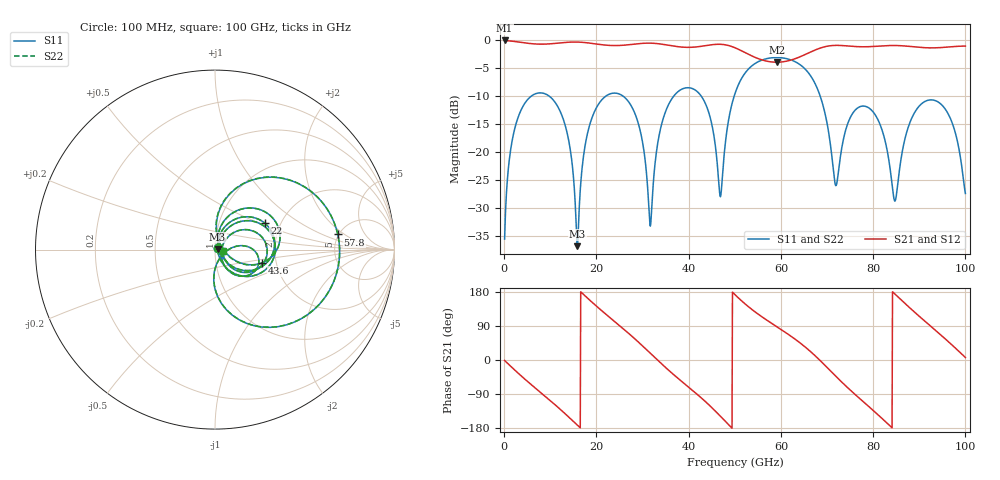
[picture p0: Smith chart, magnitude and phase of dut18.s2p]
! Touchstone file exported from HFSS 2026.1.0
!  File:  C:/ffzhzh/LocalFiles/Ansys_Project_Files/temp_train_TSV_RDL_18_1783614074_29156.aedt
!  Generated:  12:34:34 AM Jul 10, 2026
!  Design:  TSV_RDL
!  Project:  temp_train_TSV_RDL_18_1783614074_29156
! Variables:
!  h_bsmrdl = 3.32um
!  h_ox = 20um
!  h_rdl = 5um
!  h_sub = 62.19um
!  h_tmrdl = 3.37um
!  h_tsv = 62.19um
!  h_via = 3um
!  l_bsmrdl = 232.25um
!  l_sub = 3773.34um
!  l_tmrdl = 627.2um
!  m_sub = 200um
!  pitch = 42.23um
!  r_tsv = 9.23um
!  s_tmrdl = 10um
!  w_bsmrdl = 29.18um
!  w_sub = 500um
!  w_tmrdl = 26.75um
!  x_tsv_center1 = 640.575um
!  x_tsv_center2 = 902.005um
!  x_tsv_center3 = 1555.955um
!  x_tsv_center4 = 1817.385um
!  x_tsv_center5 = 2471.335um
!  x_tsv_center6 = 2732.765um
# GHz S MA R 50.000000
! Terminal data exported
! Port[1] = TM_RDL1_1_T1
! Port[2] = TM_RDL5_1_T1
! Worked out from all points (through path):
!   1000 points, 100 MHz to 100 GHz, reference 50 ohm
!   highest |S21| = -0.12 dB at 100 MHz (marker M1); lowest = -4.0 dB at 59.1 GHz (marker M2)
!   group delay of S21, straight-line fit = 29.6 ps
!   lowest |S11| = -36.8 dB at 15.9 GHz (marker M3), VSWR 1.03, Z = 51.4 + j0.341 ohm
!   |S11| at or under -10 dB: 9.692 GHz to 22.12 GHz (12.43 GHz wide, 78.1 % of centre); 25.71 GHz to 36.81 GHz (11.1 GHz wide, 35.5 % of centre); 68.5 GHz to end of sweep (the widest 3 of 5)
!   |S22| runs from -36.8 to -3.2 dB; largest |S21 - S12| = 2.3e-13
!   S11 on the Smith chart (normalised r, x): 100 MHz: 1.03, +0.02; 22 GHz: 1.65, +0.54; 43.6 GHz: 1.68, -0.27; 57.8 GHz: 4.91, +1.57; 100 GHz: 1.09, -0.02
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0.1  0.01674 31.3  0.9858 -1.3  0.9858 -1.3  0.01674 31.3
! Gamma 0 0 0 0
! Port Impedance 50 0 50 0
2.5  0.1738 54.1  0.9631 -28.8  0.9631 -28.8  0.1738 54.1
7.8  0.3363 2.2  0.9138 -84.7  0.9138 -84.7  0.3363 2.2
13.2  0.1747 -50.6  0.9462 -141.6  0.9462 -141.6  0.1747 -50.6
15.9  0.01448 13.2  0.954 -172.2  0.954 -172.2  0.01442 13.4
16.8  0.06535 72.3  0.9498 177.6  0.9498 177.6  0.06535 72.4
22  0.3136 28.2  0.896 121.4  0.896 121.4  0.3136 28.3
28.4  0.2176 -32.7  0.9163 55.1  0.9163 55.1  0.2176 -32.4
31.7  0.02183 17.3  0.9329 17.7  0.9329 17.7  0.02301 17.6
33.4  0.127 76.7  0.9223 -1.9  0.9223 -1.9  0.1274 76.2
43.6  0.2721 -15.7  0.8851 -109.3  0.8851 -109.3  0.2719 -16.0
46.9  0.03995 31.1  0.9112 -148.5  0.9112 -148.5  0.03808 31.3
50.1  0.3363 73.5  0.8471 171.8  0.8471 171.8  0.3361 73.8
57.8  0.6892 7.0  0.6357 98.3  0.6357 98.3  0.6892 7.2
59.1  0.6947 -2.6  0.6308 87.9  0.6308 87.9  0.6946 -2.5
66.7  0.4595 -65.1  0.7864 19.3  0.7864 19.3  0.4596 -64.9
71.9  0.0501 -42.4  0.8914 -42.8  0.8914 -42.8  0.05068 -42.5
75.1  0.2049 1.6  0.8763 -80.1  0.8763 -80.1  0.2047 1.6
83.4  0.08496 -58.4  0.8879 -170.9  0.8879 -170.9  0.08468 -58.3
84.8  0.03681 -0.7  0.889 173.1  0.889 173.1  0.03663 -0.3
91.7  0.2875 4.7  0.848 97.3  0.848 97.3  0.2874 5.0
100  0.04272 -13.5  0.8781 6.7  0.8781 6.7  0.04414 -12.1
